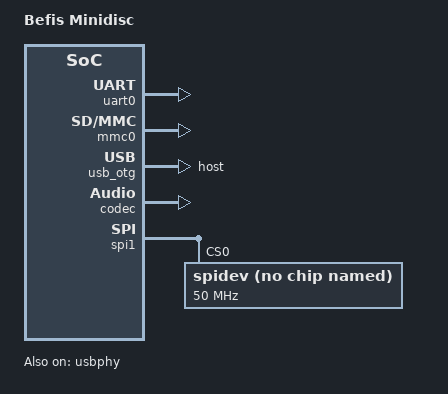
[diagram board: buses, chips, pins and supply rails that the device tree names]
// SPDX-License-Identifier: (GPL-2.0+ OR X11)

/dts-v1/;
#include "suniv-f1c100s.dtsi"

/ {
	model = "Befis Minidisc";
	compatible = "allwinner,suniv-f1c100s";

	chosen {
		#address-cells = <1>;
		#size-cells = <1>;
		ranges;

		bootargs = "console=ttyS0,115200 earlyprintk rootwait init=/preinit root=/dev/mmcblk0p3 rootfstype=ext4";
	};
};

&uart0 {
	pinctrl-names = "default";
	pinctrl-0 = <&uart0_pe_pins>;
	status = "okay";
};

&mmc0 {
	status = "okay";
	broken-cd;
};

&otg_sram {
	status = "okay";
};

&usb_otg {
	dr_mode = "host"; /* otg host peripheral */
	status = "okay";
};

&usbphy {
	usb0_id_det-gpio = <&pio 4 2 GPIO_ACTIVE_HIGH>; /* PE2 */
	status = "okay";
};

&codec {
	allwinner,audio-routing =
		"Headphone", "HP",
		"Headphone", "HPCOM",
		"LINEIN", "Line In",
		"FMINL", "Left FM In",
		"FMINR", "Right FM In",
		"MIC", "Mic";
	status = "okay";
};

&spi1 {
	pinctrl-names = "default";
	pinctrl-0 = <&spi1_pa_pins>;
	status = "okay";

	spidev@0 {
		compatible = "rohm,dh2228fv";
		spi-max-frequency = <50000000>;
		reg = <0>;
	};
};
